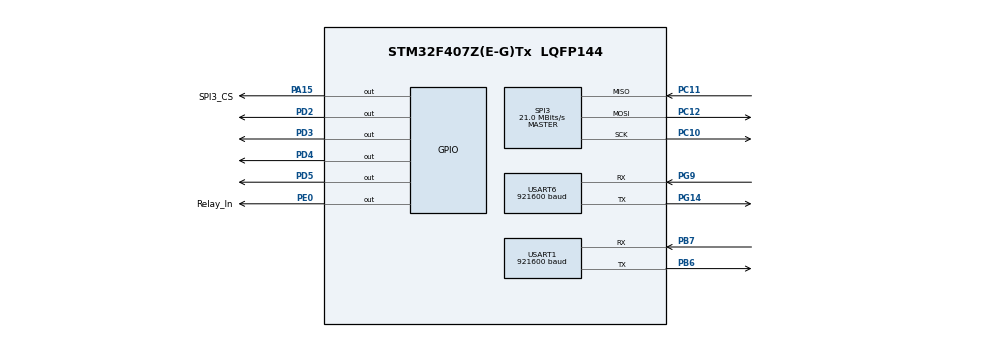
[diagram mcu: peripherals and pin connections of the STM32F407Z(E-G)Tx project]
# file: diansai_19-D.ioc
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Mcu.Family=STM32F4
VP_TIM5_VS_ClockSourceINT.Mode=Internal
PH0-OSC_IN.Signal=RCC_OSC_IN
PE0.GPIO_ModeDefaultOutputPP=GPIO_MODE_OUTPUT_PP
SPI3.Direction=SPI_DIRECTION_2LINES
SPI3.VirtualType=VM_MASTER
PD3.PinState=GPIO_PIN_SET
PD2.GPIO_PuPd=GPIO_PULLUP
USART1.BaudRate=921600
PG9.Signal=USART6_RX
PC10.Signal=SPI3_SCK
PC11.Signal=SPI3_MISO
PC12.Signal=SPI3_MOSI
PD3.Signal=GPIO_Output
PG9.Mode=Asynchronous
PC10.Mode=Full_Duplex_Master
PD2.GPIO_Speed=GPIO_SPEED_FREQ_MEDIUM
PD5.Signal=GPIO_Output
PD3.GPIO_Speed=GPIO_SPEED_FREQ_MEDIUM
USART6.Mode=MODE_TX_RX
ProjectManager.StackSize=0x400
PE0.GPIO_Speed=GPIO_SPEED_FREQ_VERY_HIGH
PD4.PinState=GPIO_PIN_SET
PD4.GPIO_PuPd=GPIO_PULLUP
PA15.GPIO_Label=SPI3_CS
PE0.PinState=GPIO_PIN_RESET
ProjectManager.TargetToolchain=STM32CubeIDE
NVIC.TIM5_IRQn=true\:2\:0\:true\:false\:true\:true\:true
PD4.Signal=GPIO_Output
TIM3.Period=2297
PB6.Signal=USART1_TX
PB6.Mode=Asynchronous
TIM4.Prescaler=420
PH0-OSC_IN.Mode=HSE-External-Oscillator
SPI3.DataSize=SPI_DATASIZE_16BIT
PG14.Signal=USART6_TX
PC12.Mode=Full_Duplex_Master
PD2.PinState=GPIO_PIN_SET
board=custom
SPI3.CLKPhase=SPI_PHASE_2EDGE
NVIC.TIM3_IRQn=true\:3\:0\:true\:false\:true\:true\:true
PG14.Mode=Asynchronous
PA15.PinState=GPIO_PIN_SET
SPI3.CalculateBaudRate=21.0 MBits/s
VP_TIM2_VS_ClockSourceINT.Mode=Internal
PD4.GPIO_Speed=GPIO_SPEED_FREQ_MEDIUM
NVIC.TIM2_IRQn=true\:3\:0\:true\:false\:true\:true\:true
PH1-OSC_OUT.Signal=RCC_OSC_OUT
PD5.GPIO_PuPd=GPIO_PULLUP
PB7.Signal=USART1_RX
PD5.PinState=GPIO_PIN_SET
TIM2.Period=8399
TIM4.Period=19999
Mcu.Name=STM32F407Z(E-G)Tx
PE0.Signal=GPIO_Output
PH1-OSC_OUT.Mode=HSE-External-Oscillator
Mcu.Package=LQFP144
SPI3.Mode=SPI_MODE_MASTER
TIM5.Prescaler=839
USART6.VirtualMode=VM_ASYNC
USART1.VirtualMode=VM_ASYNC
PA15.GPIO_Speed=GPIO_SPEED_FREQ_VERY_HIGH
PB7.Mode=Asynchronous
PA15.Signal=GPIO_Output
ProjectManager.HeapSize=0x200
USART6.BaudRate=921600
PC11.Mode=Full_Duplex_Master
PE0.GPIO_Label=Relay_In
PD3.GPIO_ModeDefaultOutputPP=GPIO_MODE_OUTPUT_PP
VP_TIM4_VS_ClockSourceINT.Mode=Internal
NVIC.PriorityGroup=NVIC_PRIORITYGROUP_4
TIM5.Period=999
PD5.GPIO_Speed=GPIO_SPEED_FREQ_MEDIUM
PD3.GPIO_PuPd=GPIO_NOPULL
PD2.Signal=GPIO_Output
NVIC.USART1_IRQn=true\:0\:0\:true\:false\:true\:true\:true
NVIC.TIM4_IRQn=true\:2\:0\:true\:false\:true\:true\:true
VP_TIM3_VS_ClockSourceINT.Mode=Internal

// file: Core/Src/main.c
/* USER CODE BEGIN Header */
/**
  ******************************************************************************
  * @file           : main.c
  * @brief          : Main program body
  ******************************************************************************
  * @attention
  *
  * <h2><center>&copy; Copyright (c) 2021 STMicroelectronics.
  * All rights reserved.</center></h2>
  *
  * This software component is licensed by ST under BSD 3-Clause license,
  * the "License"; You may not use this file except in compliance with the
  * License. You may obtain a copy of the License at:
  *                        opensource.org/licenses/BSD-3-Clause
  *
  ******************************************************************************
  */
/* USER CODE END Header */
#include "main.h"

/* USER CODE BEGIN Includes */
#include "workman.h"
/* USER CODE END Includes */

SPI_HandleTypeDef hspi3;

TIM_HandleTypeDef htim2;
TIM_HandleTypeDef htim3;
TIM_HandleTypeDef htim4;
TIM_HandleTypeDef htim5;

UART_HandleTypeDef huart1;
UART_HandleTypeDef huart6;

void SystemClock_Config(void);
static void MX_GPIO_Init(void);
static void MX_SPI3_Init(void);
static void MX_TIM3_Init(void);
static void MX_TIM4_Init(void);
static void MX_USART1_UART_Init(void);
static void MX_USART6_UART_Init(void);
static void MX_TIM5_Init(void);
static void MX_TIM2_Init(void);

/* USER CODE BEGIN 0 */
//void arm_rfft_fast_f32(arm_rfft_fast_instance_f32 *s,float *p,float *pOut,u8 ifftflag);
#define FFT_SIZE 1024 //实数序列的长�??
float Input[1024];
float Output[1024], Real_Output[1024]; //�??终幅值结果数�??
arm_rfft_fast_instance_f32 S;//结构�??
//
//
//arm_rfft_fast_f32(&S, Input, Output, 0);//ifft_flag=0是正变换�?? �??1则是�?? 变换
////再对复数结果求模
//arm_cmplx_mag_f32(Output, Real_Output, 1024);

//设置状�?�机模式     0 测试模式  1幅频特�?�模�??   2故障�??测模�??
uint8_t stateMode=0;

//PE0电平状�??           �??1则输出继电器相连，输出带�??        0为空�??
uint8_t PE0=0;

//定时器计数器
uint16_t count3=0,count4=0,count5=0;

//采样�??  和buf
uint16_t ads_data[8];
uint8_t txbuf[4] = {0};
uint8_t rxbuf[4] = {0};

ADS8688 ads;

//各个通道的最大�?�和�??小�??
uint16_t ch1max,ch2max,ch3max,ch4max,ch1min,ch2min,ch3min,ch4min;
//�??大�?�最小�?�和各种值的浮点�??
float ch1max_f,ch2max_f,ch3max_f,ch4max_f,ch1min_f,ch2min_f,ch3min_f,ch4min_f;
//峰峰�?? 平均�??
float Vpp1,Vpp2,Vdc1,Vdc2;
float Vpp3Noload,Vpp3Load,Vdc3Noload,Vdc3Load;
//输入输出电阻
float Ri[5],Ro,Au;

//测c1double
float ch1Mode2[850];
float ch3Mode2[850];
uint32_t count2;
float c1DoubleMax;
float c2DoubleMin;

//幅频特�?�采样数�??
uint16_t AF[400];
uint16_t AF_max=0,AF_place;
uint8_t AF_print[400];

/* USER CODE END 0 */

int main(void)
{

  /* MCU Configuration--------------------------------------------------------*/

  /* Reset of all peripherals, Initializes the Flash interface and the Systick. */
  HAL_Init();

  /* Configure the system clock */
  SystemClock_Config();

  /* Initialize all configured peripherals */
  MX_GPIO_Init();
  MX_SPI3_Init();
  MX_TIM3_Init();
  MX_TIM4_Init();
  MX_USART1_UART_Init();
  MX_USART6_UART_Init();
  MX_TIM5_Init();
  MX_TIM2_Init();
  /* USER CODE BEGIN 2 */
  arm_rfft_fast_init_f32(&S,1024);//初始化该结构�??

  ADS8688_Init(&ads,&hspi3,SPI3_CS_GPIO_Port, SPI3_CS_Pin);
  Init_AD9959();
  //TIM5->ARR=3999;
  TIM3->ARR=3146;
  //HAL_TIM_Base_Start_IT(&htim4);
  //HAL_TIM_Base_Start_IT(&htim3);
  HAL_UART_Receive_IT(RECEIVE, (uint8_t *)&R_onedata, 1);
  //HAL_TIM_Base_Start_IT(&htim5);

  /*
  while(1)
  {
	static float freq=1000.0f,L_freq=1000.0f;
	ads_get_all();
	if(freq!=L_freq)
	{
	  Write_frequence(0,freq);
	  L_freq = freq;
	}
  }*/

  //FFT test
  /*
  功能：计算FFT
  (结构体，输⼊，输出，ifft标志�??)
  */
  //void arm_rfft_fast_f32(arm_rfft_fast_instance_f32 *s,float *p,float *pOut,u8 ifftflag);
  //本函数对长为N的实数数组先进⾏FFT计算，由于只计算了前�??半幅频，故输出结果仍为N，频率截⽌到Fs/2�??.
//  #define FFT_SIZE 1024 //实数序列的长�??
//  float Output[1024], Real_Output[1024]; //�??终幅值结果数�??
//  arm_rfft_fast_instance_f32 S;//结构�??
//  arm_rfft_fast_init_f32(&S,FFT_SIZE);//初始化该结构�??
//  arm_rfft_fast_f32(&S, Input, Output, 0);//ifft_flag=0是正变换�?? �??1则是�?? 变换
//  //再对复数结果求模
//  arm_cmplx_mag_f32(Output, Real_Output, 1024);

  /* USER CODE END 2 */

  /* Infinite loop */
  while (1)
  {

  }
}

void SystemClock_Config(void)
{
  RCC_OscInitTypeDef RCC_OscInitStruct = {0};
  RCC_ClkInitTypeDef RCC_ClkInitStruct = {0};

  /** Configure the main internal regulator output voltage
  */
  __HAL_RCC_PWR_CLK_ENABLE();
  __HAL_PWR_VOLTAGESCALING_CONFIG(PWR_REGULATOR_VOLTAGE_SCALE2);
  /** Initializes the RCC Oscillators according to the specified parameters
  * in the RCC_OscInitTypeDef structure.
  */
  RCC_OscInitStruct.OscillatorType = RCC_OSCILLATORTYPE_HSI;
  RCC_OscInitStruct.HSIState = RCC_HSI_ON;
  RCC_OscInitStruct.HSICalibrationValue = RCC_HSICALIBRATION_DEFAULT;
  RCC_OscInitStruct.PLL.PLLState = RCC_PLL_NONE;
  if (HAL_RCC_OscConfig(&RCC_OscInitStruct) != HAL_OK)
  {
    Error_Handler();
  }
  /** Initializes the CPU, AHB and APB buses clocks
  */
  RCC_ClkInitStruct.ClockType = RCC_CLOCKTYPE_HCLK|RCC_CLOCKTYPE_SYSCLK
                              |RCC_CLOCKTYPE_PCLK1|RCC_CLOCKTYPE_PCLK2;
  RCC_ClkInitStruct.SYSCLKSource = RCC_SYSCLKSOURCE_HSI;
  RCC_ClkInitStruct.AHBCLKDivider = RCC_SYSCLK_DIV1;
  RCC_ClkInitStruct.APB1CLKDivider = RCC_HCLK_DIV1;
  RCC_ClkInitStruct.APB2CLKDivider = RCC_HCLK_DIV1;

  if (HAL_RCC_ClockConfig(&RCC_ClkInitStruct, FLASH_LATENCY_0) != HAL_OK)
  {
    Error_Handler();
  }
}

static void MX_SPI3_Init(void)
{

  /* SPI3 parameter configuration*/
  hspi3.Instance = SPI3;
  hspi3.Init.Mode = SPI_MODE_MASTER;
  hspi3.Init.Direction = SPI_DIRECTION_2LINES;
  hspi3.Init.DataSize = SPI_DATASIZE_16BIT;
  hspi3.Init.CLKPolarity = SPI_POLARITY_LOW;
  hspi3.Init.CLKPhase = SPI_PHASE_2EDGE;
  hspi3.Init.NSS = SPI_NSS_SOFT;
  hspi3.Init.BaudRatePrescaler = SPI_BAUDRATEPRESCALER_2;
  hspi3.Init.FirstBit = SPI_FIRSTBIT_MSB;
  hspi3.Init.TIMode = SPI_TIMODE_DISABLE;
  hspi3.Init.CRCCalculation = SPI_CRCCALCULATION_DISABLE;
  hspi3.Init.CRCPolynomial = 10;
  if (HAL_SPI_Init(&hspi3) != HAL_OK)
  {
    Error_Handler();
  }

}

static void MX_TIM2_Init(void)
{

  TIM_ClockConfigTypeDef sClockSourceConfig = {0};
  TIM_MasterConfigTypeDef sMasterConfig = {0};

  htim2.Instance = TIM2;
  htim2.Init.Prescaler = 0;
  htim2.Init.CounterMode = TIM_COUNTERMODE_UP;
  htim2.Init.Period = 8399;
  htim2.Init.ClockDivision = TIM_CLOCKDIVISION_DIV1;
  htim2.Init.AutoReloadPreload = TIM_AUTORELOAD_PRELOAD_DISABLE;
  if (HAL_TIM_Base_Init(&htim2) != HAL_OK)
  {
    Error_Handler();
  }
  sClockSourceConfig.ClockSource = TIM_CLOCKSOURCE_INTERNAL;
  if (HAL_TIM_ConfigClockSource(&htim2, &sClockSourceConfig) != HAL_OK)
  {
    Error_Handler();
  }
  sMasterConfig.MasterOutputTrigger = TIM_TRGO_RESET;
  sMasterConfig.MasterSlaveMode = TIM_MASTERSLAVEMODE_DISABLE;
  if (HAL_TIMEx_MasterConfigSynchronization(&htim2, &sMasterConfig) != HAL_OK)
  {
    Error_Handler();
  }

}

static void MX_TIM3_Init(void)
{

  TIM_ClockConfigTypeDef sClockSourceConfig = {0};
  TIM_MasterConfigTypeDef sMasterConfig = {0};

  htim3.Instance = TIM3;
  htim3.Init.Prescaler = 0;
  htim3.Init.CounterMode = TIM_COUNTERMODE_UP;
  htim3.Init.Period = 2297;
  htim3.Init.ClockDivision = TIM_CLOCKDIVISION_DIV1;
  htim3.Init.AutoReloadPreload = TIM_AUTORELOAD_PRELOAD_DISABLE;
  if (HAL_TIM_Base_Init(&htim3) != HAL_OK)
  {
    Error_Handler();
  }
  sClockSourceConfig.ClockSource = TIM_CLOCKSOURCE_INTERNAL;
  if (HAL_TIM_ConfigClockSource(&htim3, &sClockSourceConfig) != HAL_OK)
  {
    Error_Handler();
  }
  sMasterConfig.MasterOutputTrigger = TIM_TRGO_RESET;
  sMasterConfig.MasterSlaveMode = TIM_MASTERSLAVEMODE_DISABLE;
  if (HAL_TIMEx_MasterConfigSynchronization(&htim3, &sMasterConfig) != HAL_OK)
  {
    Error_Handler();
  }

}

static void MX_TIM4_Init(void)
{

  TIM_ClockConfigTypeDef sClockSourceConfig = {0};
  TIM_MasterConfigTypeDef sMasterConfig = {0};

  htim4.Instance = TIM4;
  htim4.Init.Prescaler = 420;
  htim4.Init.CounterMode = TIM_COUNTERMODE_UP;
  htim4.Init.Period = 19999;
  htim4.Init.ClockDivision = TIM_CLOCKDIVISION_DIV1;
  htim4.Init.AutoReloadPreload = TIM_AUTORELOAD_PRELOAD_DISABLE;
  if (HAL_TIM_Base_Init(&htim4) != HAL_OK)
  {
    Error_Handler();
  }
  sClockSourceConfig.ClockSource = TIM_CLOCKSOURCE_INTERNAL;
  if (HAL_TIM_ConfigClockSource(&htim4, &sClockSourceConfig) != HAL_OK)
  {
    Error_Handler();
  }
  sMasterConfig.MasterOutputTrigger = TIM_TRGO_RESET;
  sMasterConfig.MasterSlaveMode = TIM_MASTERSLAVEMODE_DISABLE;
  if (HAL_TIMEx_MasterConfigSynchronization(&htim4, &sMasterConfig) != HAL_OK)
  {
    Error_Handler();
  }

}

static void MX_TIM5_Init(void)
{

  TIM_ClockConfigTypeDef sClockSourceConfig = {0};
  TIM_MasterConfigTypeDef sMasterConfig = {0};

  htim5.Instance = TIM5;
  htim5.Init.Prescaler = 839;
  htim5.Init.CounterMode = TIM_COUNTERMODE_UP;
  htim5.Init.Period = 999;
  htim5.Init.ClockDivision = TIM_CLOCKDIVISION_DIV1;
  htim5.Init.AutoReloadPreload = TIM_AUTORELOAD_PRELOAD_DISABLE;
  if (HAL_TIM_Base_Init(&htim5) != HAL_OK)
  {
    Error_Handler();
  }
  sClockSourceConfig.ClockSource = TIM_CLOCKSOURCE_INTERNAL;
  if (HAL_TIM_ConfigClockSource(&htim5, &sClockSourceConfig) != HAL_OK)
  {
    Error_Handler();
  }
  sMasterConfig.MasterOutputTrigger = TIM_TRGO_RESET;
  sMasterConfig.MasterSlaveMode = TIM_MASTERSLAVEMODE_DISABLE;
  if (HAL_TIMEx_MasterConfigSynchronization(&htim5, &sMasterConfig) != HAL_OK)
  {
    Error_Handler();
  }

}

static void MX_USART1_UART_Init(void)
{

  huart1.Instance = USART1;
  huart1.Init.BaudRate = 921600;
  huart1.Init.WordLength = UART_WORDLENGTH_8B;
  huart1.Init.StopBits = UART_STOPBITS_1;
  huart1.Init.Parity = UART_PARITY_NONE;
  huart1.Init.Mode = UART_MODE_TX_RX;
  huart1.Init.HwFlowCtl = UART_HWCONTROL_NONE;
  huart1.Init.OverSampling = UART_OVERSAMPLING_16;
  if (HAL_UART_Init(&huart1) != HAL_OK)
  {
    Error_Handler();
  }

}

static void MX_USART6_UART_Init(void)
{

  huart6.Instance = USART6;
  huart6.Init.BaudRate = 921600;
  huart6.Init.WordLength = UART_WORDLENGTH_8B;
  huart6.Init.StopBits = UART_STOPBITS_1;
  huart6.Init.Parity = UART_PARITY_NONE;
  huart6.Init.Mode = UART_MODE_TX_RX;
  huart6.Init.HwFlowCtl = UART_HWCONTROL_NONE;
  huart6.Init.OverSampling = UART_OVERSAMPLING_16;
  if (HAL_UART_Init(&huart6) != HAL_OK)
  {
    Error_Handler();
  }

}

static void MX_GPIO_Init(void)
{
  GPIO_InitTypeDef GPIO_InitStruct = {0};

  /* GPIO Ports Clock Enable */
  __HAL_RCC_GPIOH_CLK_ENABLE();
  __HAL_RCC_GPIOA_CLK_ENABLE();
  __HAL_RCC_GPIOC_CLK_ENABLE();
  __HAL_RCC_GPIOD_CLK_ENABLE();
  __HAL_RCC_GPIOG_CLK_ENABLE();
  __HAL_RCC_GPIOB_CLK_ENABLE();
  __HAL_RCC_GPIOE_CLK_ENABLE();

  /*Configure GPIO pin Output Level */
  HAL_GPIO_WritePin(SPI3_CS_GPIO_Port, SPI3_CS_Pin, GPIO_PIN_SET);

  /*Configure GPIO pin Output Level */
  HAL_GPIO_WritePin(GPIOD, GPIO_PIN_2|GPIO_PIN_3|GPIO_PIN_4|GPIO_PIN_5, GPIO_PIN_SET);

  /*Configure GPIO pin Output Level */
  HAL_GPIO_WritePin(Relay_In_GPIO_Port, Relay_In_Pin, GPIO_PIN_RESET);

  /*Configure GPIO pin : SPI3_CS_Pin */
  GPIO_InitStruct.Pin = SPI3_CS_Pin;
  GPIO_InitStruct.Mode = GPIO_MODE_OUTPUT_PP;
  GPIO_InitStruct.Pull = GPIO_NOPULL;
  GPIO_InitStruct.Speed = GPIO_SPEED_FREQ_VERY_HIGH;
  HAL_GPIO_Init(SPI3_CS_GPIO_Port, &GPIO_InitStruct);

  /*Configure GPIO pins : PD2 PD4 PD5 */
  GPIO_InitStruct.Pin = GPIO_PIN_2|GPIO_PIN_4|GPIO_PIN_5;
  GPIO_InitStruct.Mode = GPIO_MODE_OUTPUT_PP;
  GPIO_InitStruct.Pull = GPIO_PULLUP;
  GPIO_InitStruct.Speed = GPIO_SPEED_FREQ_MEDIUM;
  HAL_GPIO_Init(GPIOD, &GPIO_InitStruct);

  /*Configure GPIO pin : PD3 */
  GPIO_InitStruct.Pin = GPIO_PIN_3;
  GPIO_InitStruct.Mode = GPIO_MODE_OUTPUT_PP;
  GPIO_InitStruct.Pull = GPIO_NOPULL;
  GPIO_InitStruct.Speed = GPIO_SPEED_FREQ_MEDIUM;
  HAL_GPIO_Init(GPIOD, &GPIO_InitStruct);

  /*Configure GPIO pin : Relay_In_Pin */
  GPIO_InitStruct.Pin = Relay_In_Pin;
  GPIO_InitStruct.Mode = GPIO_MODE_OUTPUT_PP;
  GPIO_InitStruct.Pull = GPIO_NOPULL;
  GPIO_InitStruct.Speed = GPIO_SPEED_FREQ_VERY_HIGH;
  HAL_GPIO_Init(Relay_In_GPIO_Port, &GPIO_InitStruct);

}

void Error_Handler(void)
{
  __disable_irq();
  while (1)
  {
  }
}

/************************ (C) COPYRIGHT STMicroelectronics *****END OF FILE****/
